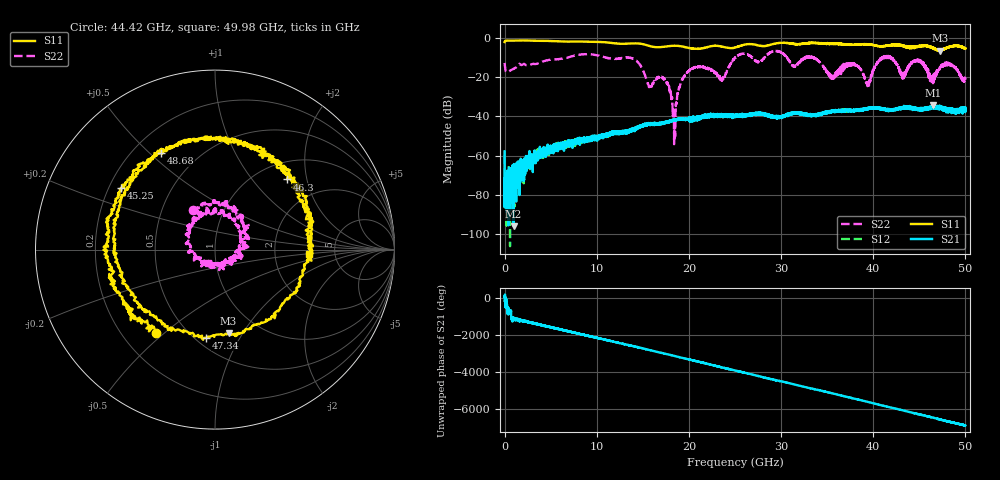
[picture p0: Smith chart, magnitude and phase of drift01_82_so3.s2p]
!Created with skrf (http://scikit-rf.org).
# Hz S RI R 50.0
!freq ReS11 ImS11 ReS21 ImS21 ReS12 ImS12 ReS22 ImS22
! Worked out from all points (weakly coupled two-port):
!   10001 points, 300 kHz to 50 GHz, reference 50 ohm
!   highest |S21| = -34.37 dB at 46.54 GHz (marker M1); lowest = -95.9 dB at 965.3 MHz (marker M2)
!   lowest |S11| = -6.6 dB at 47.25 GHz (marker M3), VSWR 2.77, Z = 36.4 - j43.4 ohm
!   |S11| at or under -10 dB: nowhere
!   |S22| runs from -54.1 to -6.6 dB; largest |S21 - S12| = 0.004
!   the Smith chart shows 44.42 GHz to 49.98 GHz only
!   S11 on the Smith chart (normalised r, x): 44.42 GHz: 0.34, -0.47; 45.25 GHz: 0.25, +0.28; 46.3 GHz: 1.35, +1.53; 47.34 GHz: 0.56, -0.73; 48.68 GHz: 0.31, +0.54; 49.98 GHz: 3.20, -0.23
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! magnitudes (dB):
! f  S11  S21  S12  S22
! 300 kHz  -2.1  -57.8  -59.9  -12.8
! 260.3 MHz  -1.4  -83.1  -76.5  -17.5
! 965.3 MHz  -1.5  -95.9  -68.7  -15.8
! 8.335 GHz  -1.9  -51.1  -52.4  -8.5
! 16.67 GHz  -4.8  -43.7  -43.7  -20.0
! 18.45 GHz  -4.0  -41.9  -41.8  -43.2
! 19.96 GHz  -5.1  -41.8  -41.6  -17.0
! 23.64 GHz  -4.5  -39.8  -39.5  -20.5
! 25 GHz  -5.0  -39.5  -39.5  -10.2
! 33.34 GHz  -2.6  -39.2  -39.2  -10.0
! 39.43 GHz  -3.4  -36.2  -36.0  -23.4
! 41.67 GHz  -3.8  -36.7  -36.7  -10.3
! 43.23 GHz  -4.1  -35.4  -35.4  -19.5
! 44.42 GHz  -4.9  -36.0  -36.3  -11.9
! 45.25 GHz  -4.1  -36.3  -36.4  -12.3
! 46.3 GHz  -5.0  -35.7  -35.6  -21.1
! 46.54 GHz  -5.1  -34.4  -35.2  -20.9
! 47.25 GHz  -6.6  -35.3  -35.5  -14.9
! 47.34 GHz  -6.1  -35.4  -35.4  -14.9
! 48.68 GHz  -4.2  -37.4  -36.0  -14.3
! 49.98 GHz  -5.6  -36.5  -36.6  -21.6
! 50 GHz  -5.4  -37.1  -36.0  -21.5
